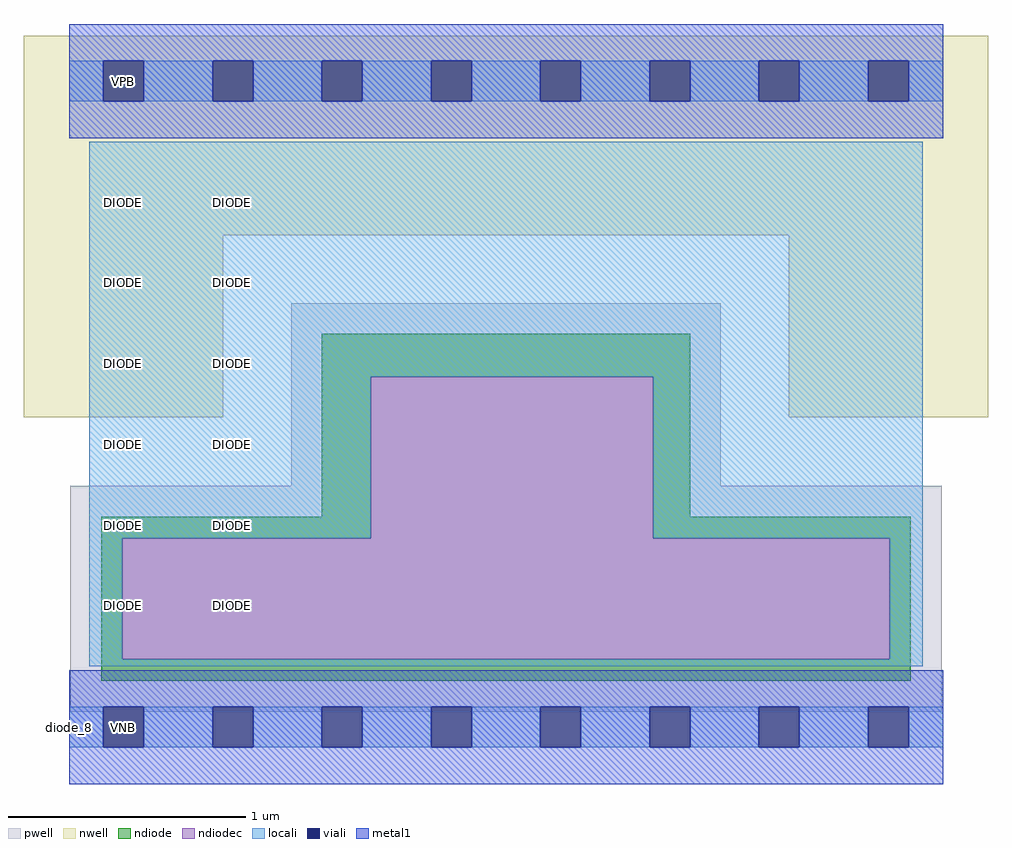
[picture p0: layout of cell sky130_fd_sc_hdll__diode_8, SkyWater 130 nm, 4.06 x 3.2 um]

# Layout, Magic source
magic
tech sky130A
magscale 1 2
<< nwell >>
rect -38 414 774 582
rect -38 261 130 414
rect 606 261 774 414
<< pwell >>
rect 187 203 549 357
rect 1 13 735 203
rect 29 -17 63 13
<< ndiode >>
rect 213 295 523 331
rect 213 177 254 295
rect 27 159 254 177
rect 492 177 523 295
rect 492 159 709 177
rect 27 57 45 159
rect 691 57 709 159
rect 27 39 709 57
<< ndiodec >>
rect 254 159 492 295
rect 45 57 691 159
<< locali >>
rect 0 527 29 561
rect 63 527 121 561
rect 155 527 213 561
rect 247 527 305 561
rect 339 527 397 561
rect 431 527 489 561
rect 523 527 581 561
rect 615 527 673 561
rect 707 527 736 561
rect 17 295 719 493
rect 17 159 254 295
rect 492 159 719 295
rect 17 57 45 159
rect 691 57 719 159
rect 17 51 719 57
rect 0 -17 29 17
rect 63 -17 121 17
rect 155 -17 213 17
rect 247 -17 305 17
rect 339 -17 397 17
rect 431 -17 489 17
rect 523 -17 581 17
rect 615 -17 673 17
rect 707 -17 736 17
<< viali >>
rect 29 527 63 561
rect 121 527 155 561
rect 213 527 247 561
rect 305 527 339 561
rect 397 527 431 561
rect 489 527 523 561
rect 581 527 615 561
rect 673 527 707 561
rect 29 -17 63 17
rect 121 -17 155 17
rect 213 -17 247 17
rect 305 -17 339 17
rect 397 -17 431 17
rect 489 -17 523 17
rect 581 -17 615 17
rect 673 -17 707 17
<< metal1 >>
rect 0 561 736 592
rect 0 527 29 561
rect 63 527 121 561
rect 155 527 213 561
rect 247 527 305 561
rect 339 527 397 561
rect 431 527 489 561
rect 523 527 581 561
rect 615 527 673 561
rect 707 527 736 561
rect 0 496 736 527
rect 0 17 736 48
rect 0 -17 29 17
rect 63 -17 121 17
rect 155 -17 213 17
rect 247 -17 305 17
rect 339 -17 397 17
rect 431 -17 489 17
rect 523 -17 581 17
rect 615 -17 673 17
rect 707 -17 736 17
rect 0 -48 736 -17
<< labels >>
rlabel comment s 0 0 0 0 4 diode_8
flabel pwell s 29 -17 63 17 0 FreeSans 200 0 0 0 VNB
port 3 nsew ground bidirectional
flabel nwell s 29 527 63 561 0 FreeSans 200 0 0 0 VPB
port 4 nsew power bidirectional
flabel metal1 s 29 -17 63 17 0 FreeSans 200 0 0 0 VGND
port 2 nsew ground input
flabel metal1 s 29 527 63 561 0 FreeSans 200 0 0 0 VPWR
port 5 nsew power input
flabel locali s 29 85 63 119 0 FreeSans 200 0 0 0 DIODE
port 1 nsew signal input
flabel locali s 29 153 63 187 0 FreeSans 200 0 0 0 DIODE
port 1 nsew signal input
flabel locali s 121 153 155 187 0 FreeSans 200 0 0 0 DIODE
port 1 nsew signal input
flabel locali s 121 221 155 255 0 FreeSans 200 0 0 0 DIODE
port 1 nsew signal input
flabel locali s 121 85 155 119 0 FreeSans 200 0 0 0 DIODE
port 1 nsew signal input
flabel locali s 121 357 155 391 0 FreeSans 200 0 0 0 DIODE
port 1 nsew signal input
flabel locali s 29 221 63 255 0 FreeSans 200 0 0 0 DIODE
port 1 nsew signal input
flabel locali s 29 357 63 391 0 FreeSans 200 0 0 0 DIODE
port 1 nsew signal input
flabel locali s 121 425 155 459 0 FreeSans 200 0 0 0 DIODE
port 1 nsew signal input
flabel locali s 29 425 63 459 0 FreeSans 200 0 0 0 DIODE
port 1 nsew signal input
flabel locali s 29 289 63 323 0 FreeSans 200 0 0 0 DIODE
port 1 nsew signal input
flabel locali s 121 289 155 323 0 FreeSans 200 0 0 0 DIODE
port 1 nsew signal input
<< properties >>
string LEFsite unithd
string LEFclass CORE
string FIXED_BBOX 0 0 736 544
string GDS_FILE $PDKPATH/libs.ref/sky130_fd_sc_hdll/gds/sky130_fd_sc_hdll.gds
string LEFsymmetry X Y R90
string GDS_END 3609720
string GDS_START 3603762
string LEFproperties maskLayoutSubType "abstract" prCellType "standard" originalViewName "layout"
string path 0.000 13.600 18.400 13.600 
<< end >>
